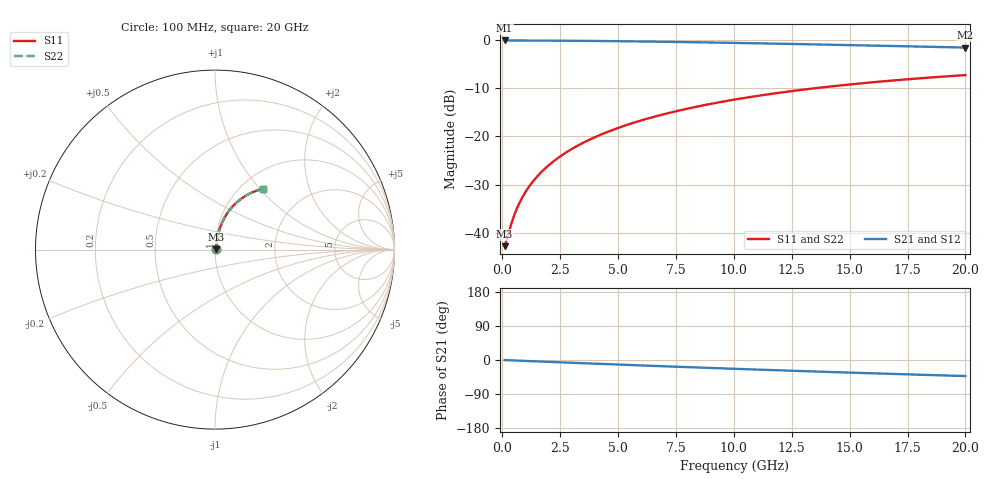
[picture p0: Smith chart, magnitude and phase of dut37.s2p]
! Touchstone file exported from HFSS 2024.1.0
!  File:  C:/UserFiles/LocalFiles/RDL_TSV_Batchsim/temp_RDL_top_37_1778680817.aedt
!  Generated:  10:02:38 PM May 13, 2026
!  Design:  RDL_top
!  Project:  temp_RDL_top_37_1778680817
!  Setup:  Setup1
!  Solution:  Sweep
! Variables:
!  dtsv = 10.80580581um
!  hbump = 3um
!  htsv = 95.46um
!  ldown = 100um
!  lrdl = 579.34um
!  p = 40
!  p1 = 40.4um
!  rhole = 1um
!  t = 450um
!  tdown = 3.915915916um
!  trdl = 2.14um
!  wdown = 15.38538539um
!  wrdl = 14.52um
# GHz S MA R 50.000000
! Terminal data exported
! Port[1] = Box2_T1
! Port[2] = Box2_T2
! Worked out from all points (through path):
!   200 points, 100 MHz to 20 GHz, reference 50 ohm
!   highest |S21| = -0.06 dB at 100 MHz (marker M1); lowest = -1.5 dB at 20 GHz (marker M2)
!   group delay of S21, straight-line fit = 5.88 ps
!   lowest |S11| = -42.8 dB at 100 MHz (marker M3), VSWR 1.01, Z = 50.7 + j0.265 ohm
!   |S11| at or under -10 dB: start of sweep to 13.48 GHz
!   |S22| runs from -42.8 to -7.3 dB; largest |S21 - S12| = 2.4e-15
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0.1  0.007245 21.2  0.9932 -0.3  0.9932 -0.3  0.007245 21.2
! Gamma 0 0 0 0
! Port Impedance 50 0 50 0
0.2  0.008609 37.3  0.9932 -0.5  0.9932 -0.5  0.008609 37.3
0.4  0.01258 55.3  0.9929 -1.0  0.9929 -1.0  0.01258 55.3
0.6  0.01711 63.7  0.9925 -1.5  0.9925 -1.5  0.01711 63.7
0.7  0.01943 66.3  0.9922 -1.8  0.9922 -1.8  0.01943 66.3
0.9  0.0241 69.9  0.9918 -2.3  0.9918 -2.3  0.0241 69.9
1.1  0.02879 72.3  0.9913 -2.7  0.9913 -2.7  0.02879 72.3
1.3  0.0335 73.9  0.9909 -3.2  0.9909 -3.2  0.0335 73.9
1.7  0.04295 76.0  0.9899 -4.2  0.9899 -4.2  0.04295 76.0
2.2  0.05485 77.4  0.9885 -5.4  0.9885 -5.4  0.05485 77.4
2.8  0.06924 78.1  0.9864 -6.8  0.9864 -6.8  0.06924 78.1
3.5  0.08613 78.2  0.9836 -8.5  0.9836 -8.5  0.08612 78.2
4.2  0.1031 77.8  0.9802 -10.2  0.9802 -10.2  0.1031 77.8
5  0.1225 77.1  0.9758 -12.1  0.9758 -12.1  0.1225 77.1
5.9  0.1442 76.0  0.9702 -14.1  0.9702 -14.1  0.1442 76.0
6.8  0.1659 74.7  0.9639 -16.2  0.9639 -16.2  0.1659 74.7
8.4  0.2039 72.1  0.9514 -19.8  0.9514 -19.8  0.2039 72.1
10.1  0.2431 69.1  0.9365 -23.4  0.9365 -23.4  0.2431 69.1
11.7  0.2787 66.2  0.9216 -26.8  0.9216 -26.8  0.2787 66.2
13.4  0.3146 63.1  0.9049 -30.2  0.9049 -30.2  0.3146 63.1
16.7  0.3783 57.1  0.8714 -36.5  0.8714 -36.5  0.3783 57.1
20  0.4337 51.5  0.8378 -42.3  0.8378 -42.3  0.4336 51.5
